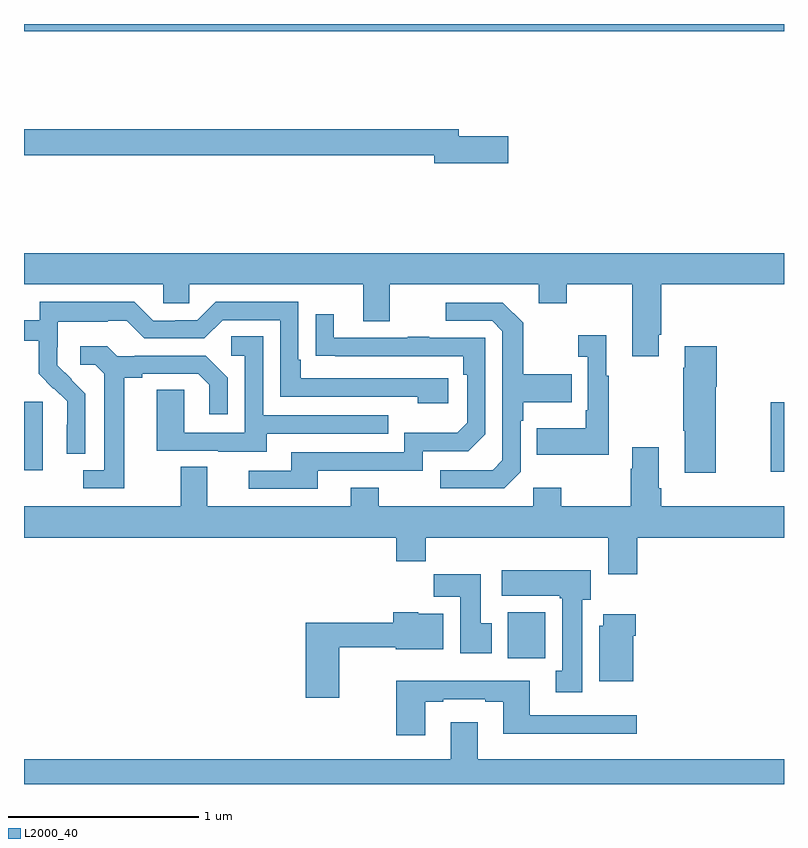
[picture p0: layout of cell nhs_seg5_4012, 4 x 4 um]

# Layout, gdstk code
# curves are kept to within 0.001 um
import gdstk
lib = gdstk.Library(unit=1e-6, precision=1e-09)
def R(c, l, rs):  # rectangles x0, y0, x1, y1
    for r in rs: c.add(gdstk.rectangle(r[:2], r[2:], *l))
def P(c, l, *ps):  # polygons
    for p in ps: c.add(gdstk.Polygon(p, *l))
L2000_40 = (2000, 40)

nhs_seg5_4012 = lib.new_cell('nhs_seg5_4012')
R(nhs_seg5_4012, L2000_40, [(349.547,853.46,349.744,853.702), (350.929,854.442,351,854.809), (347,854.45,347.098,854.811), (347,856.76,351,856.799)])
P(nhs_seg5_4012, L2000_40, [(349.549,856.208),(349.288,856.208),(349.288,856.244),(347,856.244),(347,856.108),(349.16,856.108),(349.16,856.066),(349.549,856.066)],
  [(350.341,855.163),(350.354,855.163),(350.354,855.428),(351,855.428),(351,855.592),(347,855.592),(347,855.428),(347.733,855.428),(347.733,855.33),(347.871,855.33),(347.871,855.428),(348.785,855.428),(348.785,855.234),(348.925,855.234),(348.925,855.428),(349.709,855.428),(349.709,855.329),(349.857,855.329),(349.857,855.428),(350.201,855.428),(350.201,855.051),(350.341,855.051)],
  [(347.322,854.854),(347.176,855.002),(347.176,855.099),(347.178,855.099),(347.178,855.233),(347.441,855.233),(347.441,855.237),(347.541,855.237),(347.634,855.144),(347.949,855.144),(348.045,855.24),(348.348,855.24),(348.348,854.838),(349.073,854.838),(349.073,854.804),(349.234,854.804),(349.234,854.934),(348.457,854.934),(348.457,855.031),(348.444,855.031),(348.444,855.336),(348.009,855.336),(347.913,855.24),(347.795,855.24),(347.795,855.237),(347.679,855.237),(347.579,855.337),(347.082,855.337),(347.082,855.24),(347,855.24),(347,855.132),(347.077,855.132),(347.077,854.957),(347.154,854.88),(347.157,854.883),(347.228,854.813),(347.228,854.69),(347.226,854.69),(347.226,854.536),(347.322,854.536)],
  [(349.614,854.442),(349.614,854.711),(349.627,854.711),(349.627,854.807),(349.883,854.807),(349.883,854.955),(349.627,854.955),(349.627,855.227),(349.521,855.333),(349.221,855.333),(349.221,855.237),(349.464,855.237),(349.518,855.183),(349.518,854.502),(349.467,854.451),(349.191,854.451),(349.191,854.355),(349.527,854.355)],
  [(348.547,854.448),(349.098,854.448),(349.098,854.55),(349.338,854.55),(349.428,854.64),(349.428,855.147),(349.133,855.147),(349.133,855.152),(349.021,855.152),(349.021,855.147),(348.631,855.147),(348.631,855.271),(348.535,855.271),(348.535,855.052),(349.312,855.051),(349.312,854.954),(349.332,854.954),(349.332,854.7),(349.279,854.647),(349.002,854.647),(349.002,854.544),(348.407,854.544),(348.407,854.448),(348.183,854.448),(348.183,854.352),(348.547,854.352)],
  [(350.077,854.947),(350.065,854.947),(350.065,855.16),(349.917,855.16),(349.917,855.047),(349.968,855.047),(349.968,854.767),(349.956,854.767),(349.956,854.671),(349.699,854.671),(349.699,854.531),(350.077,854.531)],
  [(348.277,854.643),(348.917,854.643),(348.917,854.739),(348.258,854.739),(348.258,855.155),(348.09,855.155),(348.09,855.054),(348.162,855.054),(348.162,854.649),(347.844,854.649),(347.844,854.873),(347.699,854.873),(347.699,854.553),(348.023,854.553),(348.023,854.549),(348.277,854.549)],
  [(350.64,854.89),(350.645,854.89),(350.645,855.103),(350.477,855.103),(350.477,854.99),(350.47,854.99),(350.47,854.659),(350.477,854.659),(350.477,854.436),(350.64,854.436)],
  [(347.527,854.936),(347.623,854.936),(347.623,854.958),(347.918,854.958),(347.975,854.901),(347.975,854.745),(348.072,854.745),(348.072,854.938),(347.956,855.054),(347.584,855.054),(347.584,855.051),(347.49,855.051),(347.438,855.103),(347.295,855.103),(347.295,855.006),(347.376,855.006),(347.423,854.959),(347.423,854.451),(347.313,854.451),(347.313,854.355),(347.527,854.355)],
  [(350.228,854.096),(351,854.096),(351,854.26),(350.354,854.26),(350.354,854.356),(350.341,854.356),(350.341,854.572),(350.201,854.572),(350.201,854.459),(350.194,854.459),(350.194,854.26),(349.827,854.26),(349.827,854.359),(349.68,854.359),(349.68,854.26),(348.867,854.26),(348.867,854.359),(348.719,854.359),(348.719,854.26),(347.965,854.26),(347.965,854.468),(347.825,854.468),(347.825,854.26),(347,854.26),(347,854.096),(348.959,854.096),(348.959,853.972),(349.115,853.972),(349.115,854.096),(350.075,854.096),(350.075,853.902),(350.228,853.902)],
  [(349.939,853.77),(349.984,853.77),(349.984,853.924),(349.515,853.924),(349.515,853.79),(349.819,853.79),(349.819,853.777),(349.832,853.777),(349.832,853.394),(349.799,853.394),(349.799,853.281),(349.939,853.281)],
  [(349.462,853.644),(349.405,853.644),(349.405,853.903),(349.156,853.903),(349.156,853.784),(349.295,853.784),(349.295,853.488),(349.462,853.488)],
  [(348.66,853.519),(348.956,853.519),(348.956,853.508),(349.207,853.508),(349.207,853.696),(349.074,853.696),(349.074,853.702),(348.944,853.702),(348.944,853.648),(348.482,853.648),(348.482,853.254),(348.66,853.254)],
  [(350.206,853.58),(350.219,853.58),(350.219,853.693),(350.048,853.693),(350.048,853.632),(350.027,853.632),(350.027,853.34),(350.206,853.34)],
  [(349.111,853.233),(349.207,853.233),(349.207,853.245),(349.427,853.245),(349.427,853.233),(349.523,853.233),(349.523,853.064),(350.224,853.064),(350.224,853.161),(349.663,853.161),(349.663,853.342),(348.959,853.342),(348.959,853.056),(349.111,853.056)],
  [(351,852.928),(349.387,852.928),(349.387,853.123),(349.247,853.123),(349.247,852.928),(347,852.928),(347,852.799),(351,852.799)])

lib.write_gds('nhs_seg5_4012.gds')
